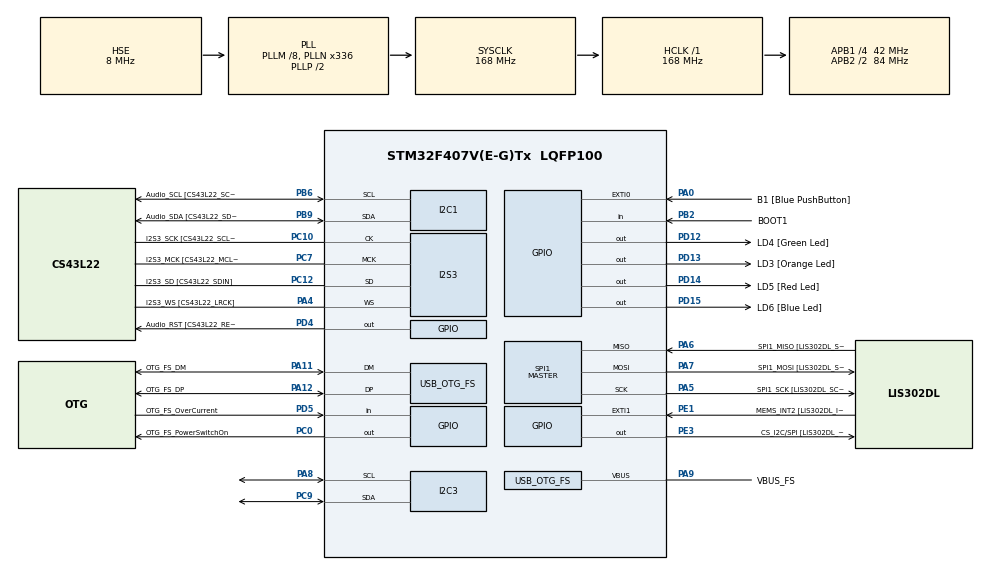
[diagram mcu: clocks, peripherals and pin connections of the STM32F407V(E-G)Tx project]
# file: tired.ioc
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I2C3.I2C_Mode=I2C_Fast
I2S3.AudioFreq-Half_Duplex_Master=I2S_AUDIOFREQ_96K
I2S3.ErrorAudioFreq=-2.34 %
I2S3.ErrorAudioFreq-Half_Duplex_Master=0.8 %
I2S3.FullDuplexMode=I2S_FULLDUPLEXMODE_DISABLE
I2S3.Instance=SPI$Index
I2S3.RealAudioFreq=93.75 KHz
I2S3.RealAudioFreq-Half_Duplex_Master=96.774 KHz
I2S3.VirtualMode=I2S_MODE_MASTER
Mcu.Family=STM32F4
Mcu.Name=STM32F407V(E-G)Tx
Mcu.Package=LQFP100
NVIC.I2C3_EV_IRQn=true\:0\:0\:false\:false\:true\:true\:true\:true
NVIC.OTG_FS_IRQn=true\:0\:0\:false\:false\:true\:true\:true\:true
NVIC.PriorityGroup=NVIC_PRIORITYGROUP_0
PA0-WKUP.GPIO_Label=B1 [Blue PushButton]
PA0-WKUP.GPIO_ModeDefaultEXTI=GPIO_MODE_EVT_RISING
PA0-WKUP.GPIO_PuPd=GPIO_NOPULL
PA0-WKUP.Signal=GPXTI0
PA10.GPIO_Label=OTG_FS_ID
PA10.GPIO_Mode=GPIO_MODE_AF_PP
PA10.GPIO_PuPd=GPIO_NOPULL
PA10.GPIO_Speed=GPIO_SPEED_FREQ_LOW
PA10.Signal=USB_OTG_FS_ID
PA11.GPIO_Label=OTG_FS_DM
PA11.GPIO_Mode=GPIO_MODE_AF_PP
PA11.GPIO_PuPd=GPIO_NOPULL
PA11.GPIO_Speed=GPIO_SPEED_FREQ_LOW
PA11.Mode=Host_Only
PA11.Signal=USB_OTG_FS_DM
PA12.GPIO_Label=OTG_FS_DP
PA12.GPIO_Mode=GPIO_MODE_AF_PP
PA12.GPIO_PuPd=GPIO_NOPULL
PA12.GPIO_Speed=GPIO_SPEED_FREQ_LOW
PA12.Mode=Host_Only
PA12.Signal=USB_OTG_FS_DP
PA13.GPIO_Label=SWDIO
PA13.Mode=Serial_Wire
PA13.Signal=SYS_JTMS-SWDIO
PA14.GPIO_Label=SWCLK
PA14.Mode=Serial_Wire
PA14.Signal=SYS_JTCK-SWCLK
PA4.GPIO_Label=I2S3_WS [CS43L22_LRCK]
PA4.GPIO_Mode=GPIO_MODE_AF_PP
PA4.GPIO_PuPd=GPIO_NOPULL
PA4.GPIO_Speed=GPIO_SPEED_FREQ_LOW
PA4.Mode=Half_Duplex_Master
PA4.Signal=I2S3_WS
PA5.GPIO_Label=SPI1_SCK [LIS302DL_SCL/SPC]
PA5.GPIO_Mode=GPIO_MODE_AF_PP
PA5.GPIO_PuPd=GPIO_NOPULL
PA5.GPIO_Speed=GPIO_SPEED_FREQ_LOW
PA5.Mode=Full_Duplex_Master
PA5.Signal=SPI1_SCK
PA6.GPIO_Label=SPI1_MISO [LIS302DL_SDO]
PA6.GPIO_Mode=GPIO_MODE_AF_PP
PA6.GPIO_PuPd=GPIO_NOPULL
PA6.GPIO_Speed=GPIO_SPEED_FREQ_LOW
PA6.Mode=Full_Duplex_Master
PA6.Signal=SPI1_MISO
PA7.GPIO_Label=SPI1_MOSI [LIS302DL_SDA/SDI/SDO]
PA7.GPIO_Mode=GPIO_MODE_AF_PP
PA7.GPIO_PuPd=GPIO_NOPULL
PA7.GPIO_Speed=GPIO_SPEED_FREQ_LOW
PA7.Mode=Full_Duplex_Master
PA7.Signal=SPI1_MOSI
PA8.Mode=I2C
PA8.Signal=I2C3_SCL
PA9.GPIO_Label=VBUS_FS
PA9.GPIO_Mode=GPIO_MODE_INPUT
PA9.GPIO_PuPd=GPIO_NOPULL
PA9.Mode=Activate_VBUS
PA9.Signal=USB_OTG_FS_VBUS
PB10.GPIO_Label=CLK_IN [MP45DT02_CLK]
PB10.GPIO_Mode=GPIO_MODE_AF_PP
PB10.GPIO_PuPd=GPIO_NOPULL
PB10.GPIO_Speed=GPIO_SPEED_FREQ_LOW
PB10.Signal=I2S2_CK
PB2.GPIO_Label=BOOT1
PB2.GPIO_Mode=GPIO_MODE_INPUT
PB2.GPIO_PuPd=GPIO_NOPULL
PB2.Signal=GPIO_Input
PB3.GPIO_Label=SWO
PB3.Signal=SYS_JTDO-SWO
PB6.GPIO_Label=Audio_SCL [CS43L22_SCL]
PB6.GPIO_Mode=GPIO_MODE_AF_OD
PB6.GPIO_Pu=GPIO_PULLUP
PB6.GPIO_PuPd=GPIO_NOPULL
PB6.GPIO_Speed=GPIO_SPEED_FREQ_LOW
PB6.Mode=I2C
PB6.Signal=I2C1_SCL
PB9.GPIO_Label=Audio_SDA [CS43L22_SDA]
PB9.GPIO_Mode=GPIO_MODE_AF_OD
PB9.GPIO_Pu=GPIO_PULLUP
PB9.GPIO_PuPd=GPIO_NOPULL
PB9.GPIO_Speed=GPIO_SPEED_FREQ_LOW
PB9.Mode=I2C
PB9.Signal=I2C1_SDA
PC0.GPIO_Label=OTG_FS_PowerSwitchOn
PC0.GPIO_PuPd=GPIO_NOPULL
PC0.GPIO_Speed=GPIO_SPEED_FREQ_LOW
PC0.PinState=GPIO_PIN_SET
PC0.Signal=GPIO_Output
PC10.GPIO_Label=I2S3_SCK [CS43L22_SCLK]
PC10.GPIO_Mode=GPIO_MODE_AF_PP
PC10.GPIO_PuPd=GPIO_NOPULL
PC10.GPIO_Speed=GPIO_SPEED_FREQ_LOW
PC10.Mode=Half_Duplex_Master
PC10.Signal=I2S3_CK
PC12.GPIO_Label=I2S3_SD [CS43L22_SDIN]
PC12.GPIO_Mode=GPIO_MODE_AF_PP
PC12.GPIO_PuPd=GPIO_NOPULL
PC12.GPIO_Speed=GPIO_SPEED_FREQ_LOW
PC12.Mode=Half_Duplex_Master
PC12.Signal=I2S3_SD
PC14-OSC32_IN.GPIO_Label=PC14-OSC32_IN
PC14-OSC32_IN.Mode=LSE-External-Oscillator
PC14-OSC32_IN.Signal=RCC_OSC32_IN
PC15-OSC32_OUT.GPIO_Label=PC15-OSC32_OUT
PC15-OSC32_OUT.Mode=LSE-External-Oscillator
PC15-OSC32_OUT.Signal=RCC_OSC32_OUT
PC3.GPIO_Label=PDM_OUT [MP45DT02_DOUT]
PC3.GPIO_Mode=GPIO_MODE_AF_PP
PC3.GPIO_PuPd=GPIO_NOPULL
PC3.GPIO_Speed=GPIO_SPEED_FREQ_LOW
PC3.Signal=I2S2_SD
PC7.GPIO_Label=I2S3_MCK [CS43L22_MCLK]
PC7.GPIO_Mode=GPIO_MODE_AF_PP
PC7.GPIO_PuPd=GPIO_NOPULL
PC7.GPIO_Speed=GPIO_SPEED_FREQ_LOW
PC7.Mode=Master_Clock_Activated
PC7.Signal=I2S3_MCK
PC9.Mode=I2C
PC9.Signal=I2C3_SDA
PD12.GPIO_Label=LD4 [Green Led]
PD12.GPIO_PuPd=GPIO_NOPULL
PD12.GPIO_Speed=GPIO_SPEED_FREQ_LOW
PD12.Signal=GPIO_Output
PD13.GPIO_Label=LD3 [Orange Led]
PD13.GPIO_PuPd=GPIO_NOPULL
PD13.GPIO_Speed=GPIO_SPEED_FREQ_LOW
PD13.Signal=GPIO_Output
PD14.GPIO_Label=LD5 [Red Led]
PD14.GPIO_PuPd=GPIO_NOPULL
PD14.GPIO_Speed=GPIO_SPEED_FREQ_LOW
PD14.Signal=GPIO_Output
PD15.GPIO_Label=LD6 [Blue Led]
PD15.GPIO_PuPd=GPIO_NOPULL
PD15.GPIO_Speed=GPIO_SPEED_FREQ_LOW
PD15.Signal=GPIO_Output
PD4.GPIO_Label=Audio_RST [CS43L22_RESET]
PD4.GPIO_PuPd=GPIO_NOPULL
PD4.GPIO_Speed=GPIO_SPEED_FREQ_LOW
PD4.Signal=GPIO_Output
PD5.GPIO_Label=OTG_FS_OverCurrent
PD5.GPIO_Mode=GPIO_MODE_INPUT
PD5.GPIO_PuPd=GPIO_NOPULL
PD5.Signal=GPIO_Input
PE1.GPIO_Label=MEMS_INT2 [LIS302DL_INT2]
PE1.GPIO_ModeDefaultEXTI=GPIO_MODE_EVT_RISING
PE1.GPIO_PuPd=GPIO_NOPULL
PE1.Signal=GPXTI1
PE3.GPIO_Label=CS_I2C/SPI [LIS302DL_CS_I2C/SPI]
PE3.GPIO_PuPd=GPIO_NOPULL
PE3.GPIO_Speed=GPIO_SPEED_FREQ_LOW
PE3.Signal=GPIO_Output
PH0-OSC_IN.GPIO_Label=PH0-OSC_IN
PH0-OSC_IN.Mode=HSE-External-Oscillator
PH0-OSC_IN.Signal=RCC_OSC_IN
PH1-OSC_OUT.GPIO_Label=PH1-OSC_OUT
PH1-OSC_OUT.Mode=HSE-External-Oscillator
PH1-OSC_OUT.Signal=RCC_OSC_OUT
ProjectManager.HeapSize=0x200
ProjectManager.StackSize=0x400
ProjectManager.TargetToolchain=STM32CubeIDE
RCC.48MHZClocksFreq_Value=48000000
RCC.AHBFreq_Value=168000000
RCC.APB1CLKDivider=RCC_HCLK_DIV4
RCC.APB1Freq_Value=42000000
RCC.APB1TimFreq_Value=84000000
RCC.APB2CLKDivider=RCC_HCLK_DIV2
RCC.APB2Freq_Value=84000000
RCC.APB2TimFreq_Value=168000000
RCC.CortexFreq_Value=168000000
RCC.HCLKFreq_Value=168000000
RCC.HSE_VALUE=8000000
RCC.HSI_VALUE=16000000
RCC.PLLM=8
RCC.PLLN=336
RCC.PLLQ=7
RCC.SYSCLKFreq_VALUE=168000000
RCC.SYSCLKSource=RCC_SYSCLKSOURCE_PLLCLK
RCC.VCOOutputFreq_Value=336000000
SPI1.BaudRatePrescaler-Full_Duplex_Master=SPI_BAUDRATEPRESCALER_2
SPI1.CalculateBaudRate-Full_Duplex_Master=42.0 MBits/s
SPI1.Direction=SPI_DIRECTION_2LINES
SPI1.Mode=SPI_MODE_MASTER
SPI1.Mode-Full_Duplex_Master=SPI_MODE_MASTER
SPI1.VirtualType=VM_MASTER
USB_HOST.BSP.number=1
USB_HOST.USBH_HandleTypeDef-CDC_FS=hUsbHostFS
USB_HOST.VirtualModeFS=Cdc
USB_HOST0.BSP.STBoard=false
USB_HOST0.BSP.api=Unknown
USB_HOST0.BSP.i2caddr=0
USB_HOST0.BSP.i2creg=0
USB_HOST0.BSP.instance=PC0
USB_HOST0.BSP.ip=GPIO
USB_HOST0.BSP.mode=Output
USB_HOST0.BSP.name=Drive_VBUS_FS
USB_HOST0.BSP.solution=PC0
USB_OTG_FS.VirtualMode=Host_Only
USB_OTG_FS.phy_itface=HCD_PHY_EMBEDDED
VP_USB_HOST_VS_USB_HOST_CDC_FS.Mode=CDC_FS
board=STM32F407G-DISC1

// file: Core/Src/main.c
/* USER CODE BEGIN Header */
/**
  ******************************************************************************
  * @file           : main.c
  * @brief          : Main program body
  ******************************************************************************
  * @attention
  *
  * Copyright (c) 2022 STMicroelectronics.
  * All rights reserved.
  *
  * This software is licensed under terms that can be found in the LICENSE file
  * in the root directory of this software component.
  * If no LICENSE file comes with this software, it is provided AS-IS.
  *
  ******************************************************************************
  */
/* USER CODE END Header */
#include "main.h"
#include "usb_host.h"

/* USER CODE BEGIN Includes */
#include "algorithm.h"
#include "max30102_lib.h"

/* USER CODE END Includes */

 I2C_HandleTypeDef hi2c1;
I2C_HandleTypeDef hi2c3;

I2S_HandleTypeDef hi2s3;

SPI_HandleTypeDef hspi1;

/* USER CODE BEGIN PV */
max30102 max;

/* USER CODE END PV */

void SystemClock_Config(void);
static void MX_GPIO_Init(void);
static void MX_I2C1_Init(void);
static void MX_I2S3_Init(void);
static void MX_SPI1_Init(void);
static void MX_I2C3_Init(void);
void MX_USB_HOST_Process(void);

/* USER CODE BEGIN PFP */
void config_max30102_sensor(void);
void initiate_max30102_temp_measurement(void);
/* USER CODE END PFP */

/* USER CODE BEGIN 0 */
float t = 0; //temperature value

uint32_t irBuffer[100]; //infrared LED sensor data
uint32_t redBuffer[100];  //red LED sensor data

int32_t bufferLength = 100; //data length
int32_t spo2; //SPO2 value
int8_t validSPO2; //indicator to show if the SPO2 calculation is valid
int32_t heartRate; //heart rate value
int8_t validHeartRate; //indicator to show if the heart rate calculation is valid
uint8_t initialReading = 0;
/* USER CODE END 0 */

int main(void)
{

  /* MCU Configuration--------------------------------------------------------*/

  /* Reset of all peripherals, Initializes the Flash interface and the Systick. */
  HAL_Init();

  /* Configure the system clock */
  SystemClock_Config();

  /* Initialize all configured peripherals */
  MX_GPIO_Init();
  MX_I2C1_Init();
  MX_I2S3_Init();
  MX_SPI1_Init();
  MX_USB_HOST_Init();
  MX_I2C3_Init();
  /* USER CODE BEGIN 2 */
  config_max30102_sensor();
  initiate_max30102_temp_measurement();

 	//calculate heart rate and SpO2 after first 100 samples (first 4 seconds of samples)
 	maxim_heart_rate_and_oxygen_saturation(irBuffer, bufferLength, redBuffer, &spo2, &validSPO2, &heartRate, &validHeartRate);
  /* USER CODE END 2 */

  /* Infinite loop */
  while (1)
  {
    MX_USB_HOST_Process();

    /* USER CODE BEGIN 3 */

    if(initialReading == 0)
    {
    	  for(uint8_t j = 0; j<3; j++)
    	  {
    		  HAL_Delay(30);

    		  //first sample
    		  if(j == 0)
    		  {
    			  max30102_interrupt_handler(&max);
    			  if(max._ir_samples[25] == 0) j=0;
    			 //store first 25 samples and store in buffer
    			  for(uint8_t x = 0; x<=24; x++)
    			  {
    				  irBuffer[x] = max._ir_samples[x];
    				  redBuffer[x] = max._red_samples[x];
    			  }
    		  }
    		  //second sample
    		  if(j == 1)
    		  {
    			  HAL_GPIO_TogglePin(GPIOD, GPIO_PIN_12);
    			  if(max._ir_samples[25] == 0) j=1;
    			  //store second 25 samples in buffer position 25-49
    			  for(uint8_t x = 25; x<=49; x++)
    			  {
    				  irBuffer[x] = max._ir_samples[x-25];
    				  redBuffer[x] = max._red_samples[x-25];
    			  }
    		  }
    		  //third sample
    		  if(j==2)
    		  {
    			  if(max._ir_samples[25] == 0) j=2;
    			  //store samples in buffer position 50-74
    			  for(uint8_t x = 50; x<=74; x++)
    			  {
    				  irBuffer[x] = max._ir_samples[x-50];
    				  redBuffer[x] = max._red_samples[x-50];
    			  }
    		  }
    		  //forth sample
    		  if(j==3)
    		  {
    			  if(max._ir_samples[25] == 0) j=3;
    			  //store samples in buffer position 74-99
    			  for(uint8_t x=74; x<=99; x++)
    			  {
    				  irBuffer[x] = max._ir_samples[x-74];
    				  redBuffer[x] = max._red_samples[x-74];
    			  }
    		  }

    	  }
    	  initialReading = 1;
    }

  //dumping the first 25 sets of samples in the memory and shift the last 75 sets of samples to the top
      for (uint8_t i = 25; i < 100; i++)
      {
        redBuffer[i - 25] = redBuffer[i];
        irBuffer[i - 25] = irBuffer[i];
      }

  //take 25 sets of samples before calculating the heart rate.
      for(int8_t k = 0; k<=3; k++)
      {
    	  max30102_interrupt_handler(&max);
    	  for(int8_t i = 75; i<100; i++)
    	  {
    		  irBuffer[i] = max._ir_samples[i - 75];
    		  redBuffer[i] = max._red_samples[i - 75];
    	  }
    	  HAL_Delay(35);
      }

      //After gathering 25 new samples recalculate HR and SP02
      maxim_heart_rate_and_oxygen_saturation(irBuffer, bufferLength, redBuffer, &spo2, &validSPO2, &heartRate, &validHeartRate);

      t = max.temperature;

  }
  /* USER CODE END 3 */
}

void SystemClock_Config(void)
{
  RCC_OscInitTypeDef RCC_OscInitStruct = {0};
  RCC_ClkInitTypeDef RCC_ClkInitStruct = {0};

  /** Configure the main internal regulator output voltage
  */
  __HAL_RCC_PWR_CLK_ENABLE();
  __HAL_PWR_VOLTAGESCALING_CONFIG(PWR_REGULATOR_VOLTAGE_SCALE1);

  /** Initializes the RCC Oscillators according to the specified parameters
  * in the RCC_OscInitTypeDef structure.
  */
  RCC_OscInitStruct.OscillatorType = RCC_OSCILLATORTYPE_HSE;
  RCC_OscInitStruct.HSEState = RCC_HSE_ON;
  RCC_OscInitStruct.PLL.PLLState = RCC_PLL_ON;
  RCC_OscInitStruct.PLL.PLLSource = RCC_PLLSOURCE_HSE;
  RCC_OscInitStruct.PLL.PLLM = 8;
  RCC_OscInitStruct.PLL.PLLN = 336;
  RCC_OscInitStruct.PLL.PLLP = RCC_PLLP_DIV2;
  RCC_OscInitStruct.PLL.PLLQ = 7;
  if (HAL_RCC_OscConfig(&RCC_OscInitStruct) != HAL_OK)
  {
    Error_Handler();
  }

  /** Initializes the CPU, AHB and APB buses clocks
  */
  RCC_ClkInitStruct.ClockType = RCC_CLOCKTYPE_HCLK|RCC_CLOCKTYPE_SYSCLK
                              |RCC_CLOCKTYPE_PCLK1|RCC_CLOCKTYPE_PCLK2;
  RCC_ClkInitStruct.SYSCLKSource = RCC_SYSCLKSOURCE_PLLCLK;
  RCC_ClkInitStruct.AHBCLKDivider = RCC_SYSCLK_DIV1;
  RCC_ClkInitStruct.APB1CLKDivider = RCC_HCLK_DIV4;
  RCC_ClkInitStruct.APB2CLKDivider = RCC_HCLK_DIV2;

  if (HAL_RCC_ClockConfig(&RCC_ClkInitStruct, FLASH_LATENCY_5) != HAL_OK)
  {
    Error_Handler();
  }
}

static void MX_I2C1_Init(void)
{

  hi2c1.Instance = I2C1;
  hi2c1.Init.ClockSpeed = 100000;
  hi2c1.Init.DutyCycle = I2C_DUTYCYCLE_2;
  hi2c1.Init.OwnAddress1 = 0;
  hi2c1.Init.AddressingMode = I2C_ADDRESSINGMODE_7BIT;
  hi2c1.Init.DualAddressMode = I2C_DUALADDRESS_DISABLE;
  hi2c1.Init.OwnAddress2 = 0;
  hi2c1.Init.GeneralCallMode = I2C_GENERALCALL_DISABLE;
  hi2c1.Init.NoStretchMode = I2C_NOSTRETCH_DISABLE;
  if (HAL_I2C_Init(&hi2c1) != HAL_OK)
  {
    Error_Handler();
  }

}

static void MX_I2C3_Init(void)
{

  hi2c3.Instance = I2C3;
  hi2c3.Init.ClockSpeed = 400000;
  hi2c3.Init.DutyCycle = I2C_DUTYCYCLE_2;
  hi2c3.Init.OwnAddress1 = 0;
  hi2c3.Init.AddressingMode = I2C_ADDRESSINGMODE_7BIT;
  hi2c3.Init.DualAddressMode = I2C_DUALADDRESS_DISABLE;
  hi2c3.Init.OwnAddress2 = 0;
  hi2c3.Init.GeneralCallMode = I2C_GENERALCALL_DISABLE;
  hi2c3.Init.NoStretchMode = I2C_NOSTRETCH_DISABLE;
  if (HAL_I2C_Init(&hi2c3) != HAL_OK)
  {
    Error_Handler();
  }

}

static void MX_I2S3_Init(void)
{

  hi2s3.Instance = SPI3;
  hi2s3.Init.Mode = I2S_MODE_MASTER_TX;
  hi2s3.Init.Standard = I2S_STANDARD_PHILIPS;
  hi2s3.Init.DataFormat = I2S_DATAFORMAT_16B;
  hi2s3.Init.MCLKOutput = I2S_MCLKOUTPUT_ENABLE;
  hi2s3.Init.AudioFreq = I2S_AUDIOFREQ_96K;
  hi2s3.Init.CPOL = I2S_CPOL_LOW;
  hi2s3.Init.ClockSource = I2S_CLOCK_PLL;
  hi2s3.Init.FullDuplexMode = I2S_FULLDUPLEXMODE_DISABLE;
  if (HAL_I2S_Init(&hi2s3) != HAL_OK)
  {
    Error_Handler();
  }

}

static void MX_SPI1_Init(void)
{

  /* SPI1 parameter configuration*/
  hspi1.Instance = SPI1;
  hspi1.Init.Mode = SPI_MODE_MASTER;
  hspi1.Init.Direction = SPI_DIRECTION_2LINES;
  hspi1.Init.DataSize = SPI_DATASIZE_8BIT;
  hspi1.Init.CLKPolarity = SPI_POLARITY_LOW;
  hspi1.Init.CLKPhase = SPI_PHASE_1EDGE;
  hspi1.Init.NSS = SPI_NSS_SOFT;
  hspi1.Init.BaudRatePrescaler = SPI_BAUDRATEPRESCALER_2;
  hspi1.Init.FirstBit = SPI_FIRSTBIT_MSB;
  hspi1.Init.TIMode = SPI_TIMODE_DISABLE;
  hspi1.Init.CRCCalculation = SPI_CRCCALCULATION_DISABLE;
  hspi1.Init.CRCPolynomial = 10;
  if (HAL_SPI_Init(&hspi1) != HAL_OK)
  {
    Error_Handler();
  }

}

static void MX_GPIO_Init(void)
{
  GPIO_InitTypeDef GPIO_InitStruct = {0};

  /* GPIO Ports Clock Enable */
  __HAL_RCC_GPIOE_CLK_ENABLE();
  __HAL_RCC_GPIOC_CLK_ENABLE();
  __HAL_RCC_GPIOH_CLK_ENABLE();
  __HAL_RCC_GPIOA_CLK_ENABLE();
  __HAL_RCC_GPIOB_CLK_ENABLE();
  __HAL_RCC_GPIOD_CLK_ENABLE();

  /*Configure GPIO pin Output Level */
  HAL_GPIO_WritePin(CS_I2C_SPI_GPIO_Port, CS_I2C_SPI_Pin, GPIO_PIN_RESET);

  /*Configure GPIO pin Output Level */
  HAL_GPIO_WritePin(OTG_FS_PowerSwitchOn_GPIO_Port, OTG_FS_PowerSwitchOn_Pin, GPIO_PIN_SET);

  /*Configure GPIO pin Output Level */
  HAL_GPIO_WritePin(GPIOD, LD4_Pin|LD3_Pin|LD5_Pin|LD6_Pin
                          |Audio_RST_Pin, GPIO_PIN_RESET);

  /*Configure GPIO pin : CS_I2C_SPI_Pin */
  GPIO_InitStruct.Pin = CS_I2C_SPI_Pin;
  GPIO_InitStruct.Mode = GPIO_MODE_OUTPUT_PP;
  GPIO_InitStruct.Pull = GPIO_NOPULL;
  GPIO_InitStruct.Speed = GPIO_SPEED_FREQ_LOW;
  HAL_GPIO_Init(CS_I2C_SPI_GPIO_Port, &GPIO_InitStruct);

  /*Configure GPIO pin : OTG_FS_PowerSwitchOn_Pin */
  GPIO_InitStruct.Pin = OTG_FS_PowerSwitchOn_Pin;
  GPIO_InitStruct.Mode = GPIO_MODE_OUTPUT_PP;
  GPIO_InitStruct.Pull = GPIO_NOPULL;
  GPIO_InitStruct.Speed = GPIO_SPEED_FREQ_LOW;
  HAL_GPIO_Init(OTG_FS_PowerSwitchOn_GPIO_Port, &GPIO_InitStruct);

  /*Configure GPIO pin : PDM_OUT_Pin */
  GPIO_InitStruct.Pin = PDM_OUT_Pin;
  GPIO_InitStruct.Mode = GPIO_MODE_AF_PP;
  GPIO_InitStruct.Pull = GPIO_NOPULL;
  GPIO_InitStruct.Speed = GPIO_SPEED_FREQ_LOW;
  GPIO_InitStruct.Alternate = GPIO_AF5_SPI2;
  HAL_GPIO_Init(PDM_OUT_GPIO_Port, &GPIO_InitStruct);

  /*Configure GPIO pin : B1_Pin */
  GPIO_InitStruct.Pin = B1_Pin;
  GPIO_InitStruct.Mode = GPIO_MODE_EVT_RISING;
  GPIO_InitStruct.Pull = GPIO_NOPULL;
  HAL_GPIO_Init(B1_GPIO_Port, &GPIO_InitStruct);

  /*Configure GPIO pin : BOOT1_Pin */
  GPIO_InitStruct.Pin = BOOT1_Pin;
  GPIO_InitStruct.Mode = GPIO_MODE_INPUT;
  GPIO_InitStruct.Pull = GPIO_NOPULL;
  HAL_GPIO_Init(BOOT1_GPIO_Port, &GPIO_InitStruct);

  /*Configure GPIO pin : CLK_IN_Pin */
  GPIO_InitStruct.Pin = CLK_IN_Pin;
  GPIO_InitStruct.Mode = GPIO_MODE_AF_PP;
  GPIO_InitStruct.Pull = GPIO_NOPULL;
  GPIO_InitStruct.Speed = GPIO_SPEED_FREQ_LOW;
  GPIO_InitStruct.Alternate = GPIO_AF5_SPI2;
  HAL_GPIO_Init(CLK_IN_GPIO_Port, &GPIO_InitStruct);

  /*Configure GPIO pins : LD4_Pin LD3_Pin LD5_Pin LD6_Pin
                           Audio_RST_Pin */
  GPIO_InitStruct.Pin = LD4_Pin|LD3_Pin|LD5_Pin|LD6_Pin
                          |Audio_RST_Pin;
  GPIO_InitStruct.Mode = GPIO_MODE_OUTPUT_PP;
  GPIO_InitStruct.Pull = GPIO_NOPULL;
  GPIO_InitStruct.Speed = GPIO_SPEED_FREQ_LOW;
  HAL_GPIO_Init(GPIOD, &GPIO_InitStruct);

  /*Configure GPIO pin : OTG_FS_OverCurrent_Pin */
  GPIO_InitStruct.Pin = OTG_FS_OverCurrent_Pin;
  GPIO_InitStruct.Mode = GPIO_MODE_INPUT;
  GPIO_InitStruct.Pull = GPIO_NOPULL;
  HAL_GPIO_Init(OTG_FS_OverCurrent_GPIO_Port, &GPIO_InitStruct);

  /*Configure GPIO pin : MEMS_INT2_Pin */
  GPIO_InitStruct.Pin = MEMS_INT2_Pin;
  GPIO_InitStruct.Mode = GPIO_MODE_EVT_RISING;
  GPIO_InitStruct.Pull = GPIO_NOPULL;
  HAL_GPIO_Init(MEMS_INT2_GPIO_Port, &GPIO_InitStruct);

}

/* USER CODE BEGIN 4 */

void config_max30102_sensor(void)
{
	  //Initiate the MAX30102 code
	   max30102_init(&max, &hi2c3);
	   max30102_reset(&max);
	   max30102_clear_fifo(&max);

	   //set mode for sensor
	     max30102_set_mode(&max);
	     //enable interrupts
	     max30102_interrupt_config(&max);

	     //spo2 config
	     max30102_spo2_config(&max);

	     //fifo config
	     max30102_fifo_config(&max);

	     //led1 current setting
	      max30102_led1_settings(&max);

	     //led2 current setting
	     max30102_led2_settings(&max);
}

void initiate_max30102_temp_measurement(void)
{
    //initiate 1 temperature measurement
    max30102_set_die_temp_en(&max);
    max30102_set_die_temp_rdy(&max);
}

/* USER CODE END 4 */

void Error_Handler(void)
{
  __disable_irq();
  while (1)
  {
  }
}
